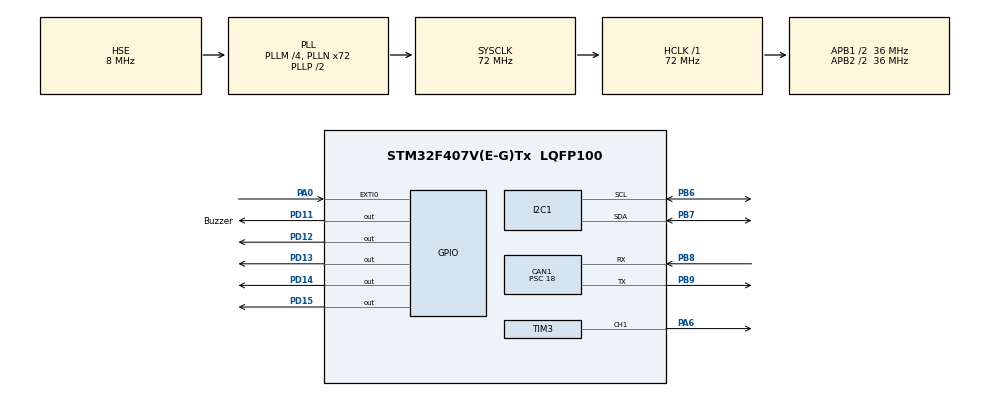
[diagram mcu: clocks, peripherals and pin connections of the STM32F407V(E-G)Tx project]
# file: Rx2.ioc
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CAN1.BS1=CAN_BS1_2TQ
CAN1.BS2=CAN_BS2_1TQ
CAN1.CalculateBaudRate=500000
CAN1.CalculateTimeBit=2000
CAN1.CalculateTimeQuantum=500.0
CAN1.Prescaler=18
Mcu.Family=STM32F4
Mcu.Name=STM32F407V(E-G)Tx
Mcu.Package=LQFP100
NVIC.CAN1_RX0_IRQn=true\:0\:0\:false\:false\:true\:true\:true\:true
NVIC.EXTI0_IRQn=true\:0\:0\:false\:false\:true\:true\:true\:true
NVIC.PriorityGroup=NVIC_PRIORITYGROUP_0
PA0-WKUP.Signal=GPXTI0
PA6.Signal=S_TIM3_CH1
PB6.Mode=I2C
PB6.Signal=I2C1_SCL
PB7.Mode=I2C
PB7.Signal=I2C1_SDA
PB8.Mode=CAN_Activate
PB8.Signal=CAN1_RX
PB9.Mode=CAN_Activate
PB9.Signal=CAN1_TX
PD11.GPIO_Label=Buzzer
PD11.Signal=GPIO_Output
PD12.Signal=GPIO_Output
PD13.Signal=GPIO_Output
PD14.Signal=GPIO_Output
PD15.Signal=GPIO_Output
PH0-OSC_IN.Mode=HSE-External-Oscillator
PH0-OSC_IN.Signal=RCC_OSC_IN
PH1-OSC_OUT.Mode=HSE-External-Oscillator
PH1-OSC_OUT.Signal=RCC_OSC_OUT
ProjectManager.HeapSize=0x200
ProjectManager.StackSize=0x400
ProjectManager.TargetToolchain=STM32CubeIDE
RCC.48MHZClocksFreq_Value=20571428.57142857
RCC.AHBFreq_Value=72000000
RCC.APB1CLKDivider=RCC_HCLK_DIV2
RCC.APB1Freq_Value=36000000
RCC.APB1TimFreq_Value=72000000
RCC.APB2CLKDivider=RCC_HCLK_DIV2
RCC.APB2Freq_Value=36000000
RCC.APB2TimFreq_Value=72000000
RCC.CortexFreq_Value=72000000
RCC.HCLKFreq_Value=72000000
RCC.HSE_VALUE=8000000
RCC.HSI_VALUE=16000000
RCC.LSE_VALUE=32768
RCC.PLLM=4
RCC.PLLN=72
RCC.PLLQ=7
RCC.PLLSourceVirtual=RCC_PLLSOURCE_HSE
RCC.SYSCLKFreq_VALUE=72000000
RCC.SYSCLKSource=RCC_SYSCLKSOURCE_PLLCLK
RCC.VCOOutputFreq_Value=144000000
SH.S_TIM3_CH1.0=TIM3_CH1,PWM Generation1 CH1
TIM3.Channel-PWM\ Generation1\ CH1=TIM_CHANNEL_1
VP_TIM3_VS_ClockSourceINT.Mode=Internal
board=STM32F407G-DISC1

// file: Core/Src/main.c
/* USER CODE BEGIN Header */
/**
  ******************************************************************************
  * @file           : main.c
  * @brief          : Main program body
  ******************************************************************************
  * @attention
  *
  * Copyright (c) 2023 STMicroelectronics.
  * All rights reserved.
  *
  * This software is licensed under terms that can be found in the LICENSE file
  * in the root directory of this software component.
  * If no LICENSE file comes with this software, it is provided AS-IS.
  *
  ******************************************************************************
  */
/* USER CODE END Header */
#include "main.h"

/* USER CODE BEGIN Includes */
#include<stdio.h>
#include"lcd16x2_i2c.h"
/* USER CODE END Includes */

CAN_HandleTypeDef hcan1;

I2C_HandleTypeDef hi2c1;

TIM_HandleTypeDef htim3;

/* USER CODE BEGIN PV */
uint8_t flag=0;
/* USER CODE END PV */

void SystemClock_Config(void);
static void MX_GPIO_Init(void);
static void MX_CAN1_Init(void);
static void MX_I2C1_Init(void);
static void MX_TIM3_Init(void);

/* USER CODE BEGIN 0 */
CAN_RxHeaderTypeDef RxHeader;
uint16_t RxData[2];
uint32_t RxMailBox;

void HAL_CAN_RxFifo0MsgPendingCallback(CAN_HandleTypeDef *hcan){

	flag=1;
	HAL_GPIO_WritePin(GPIOD, GPIO_PIN_15, GPIO_PIN_SET); // blue
	HAL_CAN_GetRxMessage(&hcan1, CAN_RX_FIFO0, &RxHeader, RxData);
//	HAL_CAN_GetRxMessage(&hcan1, CAN_RX_FIFO0, &RxHeader, RxData[1]);
}
/* USER CODE END 0 */

int main(void)
{
  /* USER CODE BEGIN 1 */
	char msg[16];
  /* USER CODE END 1 */

  /* MCU Configuration--------------------------------------------------------*/

  /* Reset of all peripherals, Initializes the Flash interface and the Systick. */
  HAL_Init();

  /* Configure the system clock */
  SystemClock_Config();

  /* Initialize all configured peripherals */
  MX_GPIO_Init();
  MX_CAN1_Init();
  MX_I2C1_Init();
  MX_TIM3_Init();
  /* USER CODE BEGIN 2 */
  if(lcd16x2_i2c_init(&hi2c1))
      {
    	  HAL_GPIO_WritePin(GPIOD, GPIO_PIN_13, GPIO_PIN_SET);
      }
  HAL_CAN_Start(&hcan1);
  HAL_CAN_ActivateNotification(&hcan1, CAN_IT_RX_FIFO0_MSG_PENDING);

  RxHeader.DLC = 4;
  RxHeader.RTR = CAN_RTR_DATA;
  RxHeader.IDE = CAN_ID_STD;
  RxHeader.ExtId = 0x00;
  RxHeader.StdId = 0x0AA;

  HAL_Delay(100);  HAL_Delay(100);

  HAL_Delay(100);
  lcd16x2_i2c_setCursor(0, 0);
  lcd16x2_i2c_printf("Welcome...!!!");
  /* USER CODE END 2 */

  /* Infinite loop */
  /* USER CODE BEGIN WHILE */
  HAL_TIM_PWM_Start(&htim3, TIM_CHANNEL_1);
  uint16_t duty = 0;
  while (1)
  {
	  		//if(RxData[0] == 'S'){
	  	  	  if(flag==1)
	  	  	  {
	  			HAL_GPIO_WritePin(GPIOD, GPIO_PIN_14, GPIO_PIN_SET); //
	  			lcd16x2_i2c_setCursor(1, 0);
	  			sprintf(msg, "Distance=%-3dcm",RxData[1]);
	  			lcd16x2_i2c_printf(msg);
	  			HAL_Delay(500);
	  			lcd16x2_i2c_clear();

	  			if(RxData[1]<=20)
	  			{
	  				HAL_GPIO_WritePin(GPIOD, GPIO_PIN_11, GPIO_PIN_SET);
	  				lcd16x2_i2c_setCursor(0, 0);
	  				lcd16x2_i2c_printf("Object Detected");
	  				while(duty != 0)
	  				{
	  					htim3.Instance->CCR1 = duty;
	  					duty = duty - 10;
//	  					HAL_Delay(50);
	  				}
	  			}
	  			else if(RxData[0] == 0)
	  			{
	  				HAL_GPIO_WritePin(GPIOD, GPIO_PIN_11, GPIO_PIN_SET);
	  				lcd16x2_i2c_setCursor(0, 0);
	  				lcd16x2_i2c_printf("Wake Up-Wake Up");
	  				while(duty != 0)
	  				{
	  					htim3.Instance->CCR1 = duty;
	  					duty = duty - 10;
//	  					HAL_Delay(50);
	  				}
	  			}

	  			else
	  			{
	  				HAL_GPIO_WritePin(GPIOD, GPIO_PIN_11, GPIO_PIN_RESET);
	  				lcd16x2_i2c_setCursor(0, 0);
	  				lcd16x2_i2c_printf("No Obj Detected");
	  				while(duty != 100)
	  				{
	  					htim3.Instance->CCR1 = duty;
	  					duty = duty + 10;
//	  					HAL_Delay(50);
	  				}
	  			}
	  			HAL_GPIO_WritePin(GPIOD, GPIO_PIN_14, GPIO_PIN_RESET);
	  	  	  }
	  	  	  HAL_Delay(500);

    /* USER CODE END WHILE */

  }
}

void SystemClock_Config(void)
{
  RCC_OscInitTypeDef RCC_OscInitStruct = {0};
  RCC_ClkInitTypeDef RCC_ClkInitStruct = {0};

  /** Configure the main internal regulator output voltage
  */
  __HAL_RCC_PWR_CLK_ENABLE();
  __HAL_PWR_VOLTAGESCALING_CONFIG(PWR_REGULATOR_VOLTAGE_SCALE1);

  /** Initializes the RCC Oscillators according to the specified parameters
  * in the RCC_OscInitTypeDef structure.
  */
  RCC_OscInitStruct.OscillatorType = RCC_OSCILLATORTYPE_HSE;
  RCC_OscInitStruct.HSEState = RCC_HSE_ON;
  RCC_OscInitStruct.PLL.PLLState = RCC_PLL_ON;
  RCC_OscInitStruct.PLL.PLLSource = RCC_PLLSOURCE_HSE;
  RCC_OscInitStruct.PLL.PLLM = 4;
  RCC_OscInitStruct.PLL.PLLN = 72;
  RCC_OscInitStruct.PLL.PLLP = RCC_PLLP_DIV2;
  RCC_OscInitStruct.PLL.PLLQ = 7;
  if (HAL_RCC_OscConfig(&RCC_OscInitStruct) != HAL_OK)
  {
    Error_Handler();
  }

  /** Initializes the CPU, AHB and APB buses clocks
  */
  RCC_ClkInitStruct.ClockType = RCC_CLOCKTYPE_HCLK|RCC_CLOCKTYPE_SYSCLK
                              |RCC_CLOCKTYPE_PCLK1|RCC_CLOCKTYPE_PCLK2;
  RCC_ClkInitStruct.SYSCLKSource = RCC_SYSCLKSOURCE_PLLCLK;
  RCC_ClkInitStruct.AHBCLKDivider = RCC_SYSCLK_DIV1;
  RCC_ClkInitStruct.APB1CLKDivider = RCC_HCLK_DIV2;
  RCC_ClkInitStruct.APB2CLKDivider = RCC_HCLK_DIV2;

  if (HAL_RCC_ClockConfig(&RCC_ClkInitStruct, FLASH_LATENCY_2) != HAL_OK)
  {
    Error_Handler();
  }
}

static void MX_CAN1_Init(void)
{

  hcan1.Instance = CAN1;
  hcan1.Init.Prescaler = 18;
  hcan1.Init.Mode = CAN_MODE_NORMAL;
  hcan1.Init.SyncJumpWidth = CAN_SJW_1TQ;
  hcan1.Init.TimeSeg1 = CAN_BS1_2TQ;
  hcan1.Init.TimeSeg2 = CAN_BS2_1TQ;
  hcan1.Init.TimeTriggeredMode = DISABLE;
  hcan1.Init.AutoBusOff = DISABLE;
  hcan1.Init.AutoWakeUp = DISABLE;
  hcan1.Init.AutoRetransmission = DISABLE;
  hcan1.Init.ReceiveFifoLocked = DISABLE;
  hcan1.Init.TransmitFifoPriority = DISABLE;
  if (HAL_CAN_Init(&hcan1) != HAL_OK)
  {
    Error_Handler();
  }
  /* USER CODE BEGIN CAN1_Init 2 */
  CAN_FilterTypeDef canFilterConfig;
  canFilterConfig.FilterActivation=CAN_FILTER_ENABLE;
  canFilterConfig.SlaveStartFilterBank=14;
  canFilterConfig.FilterBank=2;
  canFilterConfig.FilterFIFOAssignment=CAN_RX_FIFO0;
  canFilterConfig.FilterScale=CAN_FILTERSCALE_32BIT;
  canFilterConfig.FilterMode=CAN_FILTERMODE_IDMASK;
  canFilterConfig.FilterMaskIdLow=0x0000;
  canFilterConfig.FilterMaskIdHigh=0xFF00;
  canFilterConfig.FilterIdLow=0x0000;
  canFilterConfig.FilterIdHigh=0x1500;
  HAL_CAN_ConfigFilter(&hcan1, &canFilterConfig);
  /* USER CODE END CAN1_Init 2 */

}

static void MX_I2C1_Init(void)
{

  hi2c1.Instance = I2C1;
  hi2c1.Init.ClockSpeed = 100000;
  hi2c1.Init.DutyCycle = I2C_DUTYCYCLE_2;
  hi2c1.Init.OwnAddress1 = 0;
  hi2c1.Init.AddressingMode = I2C_ADDRESSINGMODE_7BIT;
  hi2c1.Init.DualAddressMode = I2C_DUALADDRESS_DISABLE;
  hi2c1.Init.OwnAddress2 = 0;
  hi2c1.Init.GeneralCallMode = I2C_GENERALCALL_DISABLE;
  hi2c1.Init.NoStretchMode = I2C_NOSTRETCH_DISABLE;
  if (HAL_I2C_Init(&hi2c1) != HAL_OK)
  {
    Error_Handler();
  }

}

static void MX_TIM3_Init(void)
{

  TIM_ClockConfigTypeDef sClockSourceConfig = {0};
  TIM_MasterConfigTypeDef sMasterConfig = {0};
  TIM_OC_InitTypeDef sConfigOC = {0};

  htim3.Instance = TIM3;
  htim3.Init.Prescaler = 0;
  htim3.Init.CounterMode = TIM_COUNTERMODE_UP;
  htim3.Init.Period = 65535;
  htim3.Init.ClockDivision = TIM_CLOCKDIVISION_DIV1;
  htim3.Init.AutoReloadPreload = TIM_AUTORELOAD_PRELOAD_DISABLE;
  if (HAL_TIM_Base_Init(&htim3) != HAL_OK)
  {
    Error_Handler();
  }
  sClockSourceConfig.ClockSource = TIM_CLOCKSOURCE_INTERNAL;
  if (HAL_TIM_ConfigClockSource(&htim3, &sClockSourceConfig) != HAL_OK)
  {
    Error_Handler();
  }
  if (HAL_TIM_PWM_Init(&htim3) != HAL_OK)
  {
    Error_Handler();
  }
  sMasterConfig.MasterOutputTrigger = TIM_TRGO_RESET;
  sMasterConfig.MasterSlaveMode = TIM_MASTERSLAVEMODE_DISABLE;
  if (HAL_TIMEx_MasterConfigSynchronization(&htim3, &sMasterConfig) != HAL_OK)
  {
    Error_Handler();
  }
  sConfigOC.OCMode = TIM_OCMODE_PWM1;
  sConfigOC.Pulse = 0;
  sConfigOC.OCPolarity = TIM_OCPOLARITY_HIGH;
  sConfigOC.OCFastMode = TIM_OCFAST_DISABLE;
  if (HAL_TIM_PWM_ConfigChannel(&htim3, &sConfigOC, TIM_CHANNEL_1) != HAL_OK)
  {
    Error_Handler();
  }
  HAL_TIM_MspPostInit(&htim3);

}

static void MX_GPIO_Init(void)
{
  GPIO_InitTypeDef GPIO_InitStruct = {0};

  /* GPIO Ports Clock Enable */
  __HAL_RCC_GPIOH_CLK_ENABLE();
  __HAL_RCC_GPIOA_CLK_ENABLE();
  __HAL_RCC_GPIOD_CLK_ENABLE();
  __HAL_RCC_GPIOB_CLK_ENABLE();

  /*Configure GPIO pin Output Level */
  HAL_GPIO_WritePin(GPIOD, Buzzer_Pin|GPIO_PIN_12|GPIO_PIN_13|GPIO_PIN_14
                          |GPIO_PIN_15, GPIO_PIN_RESET);

  /*Configure GPIO pin : PA0 */
  GPIO_InitStruct.Pin = GPIO_PIN_0;
  GPIO_InitStruct.Mode = GPIO_MODE_IT_RISING;
  GPIO_InitStruct.Pull = GPIO_NOPULL;
  HAL_GPIO_Init(GPIOA, &GPIO_InitStruct);

  /*Configure GPIO pins : Buzzer_Pin PD12 PD13 PD14
                           PD15 */
  GPIO_InitStruct.Pin = Buzzer_Pin|GPIO_PIN_12|GPIO_PIN_13|GPIO_PIN_14
                          |GPIO_PIN_15;
  GPIO_InitStruct.Mode = GPIO_MODE_OUTPUT_PP;
  GPIO_InitStruct.Pull = GPIO_NOPULL;
  GPIO_InitStruct.Speed = GPIO_SPEED_FREQ_LOW;
  HAL_GPIO_Init(GPIOD, &GPIO_InitStruct);

  /* EXTI interrupt init*/
  HAL_NVIC_SetPriority(EXTI0_IRQn, 0, 0);
  HAL_NVIC_EnableIRQ(EXTI0_IRQn);

}

void Error_Handler(void)
{
  __disable_irq();
  while (1)
  {
  }
}
